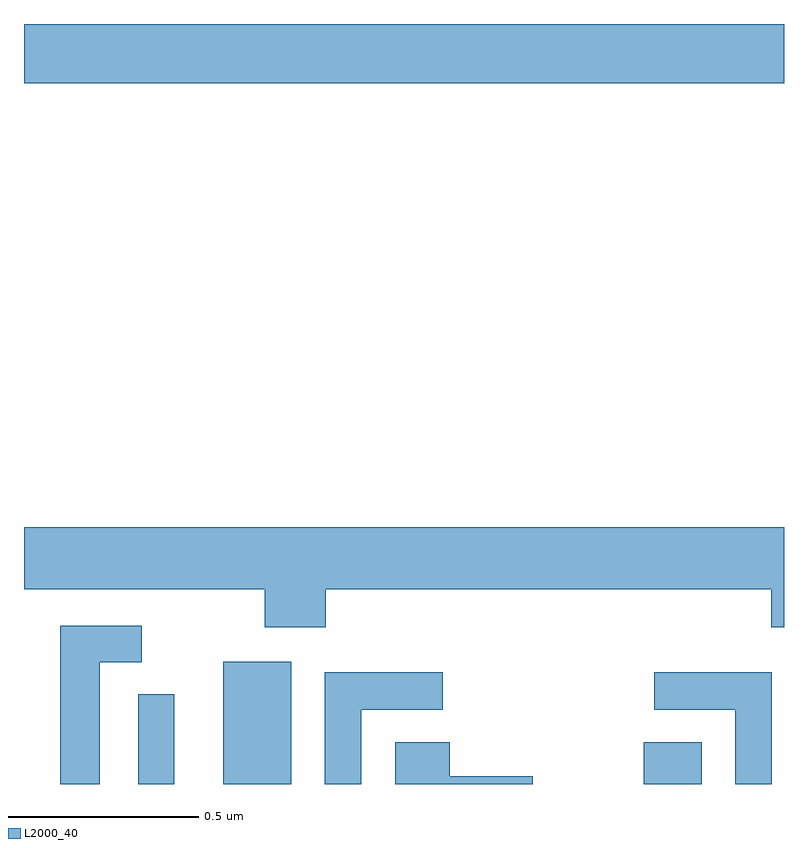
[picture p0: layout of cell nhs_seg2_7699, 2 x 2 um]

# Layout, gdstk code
import gdstk
lib = gdstk.Library(unit=1e-6, precision=1e-09)
def R(c, l, rs):  # rectangles x0, y0, x1, y1
    for r in rs: c.add(gdstk.rectangle(r[:2], r[2:], *l))
def P(c, l, *ps):  # polygons
    for p in ps: c.add(gdstk.Polygon(p, *l))
L2000_40 = (2000, 40)

nhs_seg2_7699 = lib.new_cell('nhs_seg2_7699')
R(nhs_seg2_7699, L2000_40, [(207.524,637.8,207.703,638.122), (208.631,637.8,208.783,637.91), (207,639.644,209,639.8)])
P(nhs_seg2_7699, L2000_40, [(207.794,638.312),(208.967,638.312),(208.967,638.213),(209,638.213),(209,638.476),(207,638.476),(207,638.312),(207.634,638.312),(207.634,638.213),(207.794,638.213)],
  [(207.199,638.121),(207.31,638.121),(207.31,638.217),(207.095,638.217),(207.095,637.8),(207.199,637.8)],
  [(208.968,638.094),(208.659,638.094),(208.659,637.995),(208.872,637.995),(208.872,637.8),(208.968,637.8)],
  [(207.888,637.995),(208.102,637.995),(208.102,638.094),(207.792,638.094),(207.792,637.8),(207.888,637.8)],
  [(207.395,637.882),(207.396,637.882),(207.396,638.036),(207.3,638.036),(207.3,637.8),(207.395,637.8)],
  [(208.339,637.82),(208.121,637.82),(208.121,637.91),(207.977,637.91),(207.977,637.8),(208.339,637.8)])

lib.write_gds('nhs_seg2_7699.gds')
